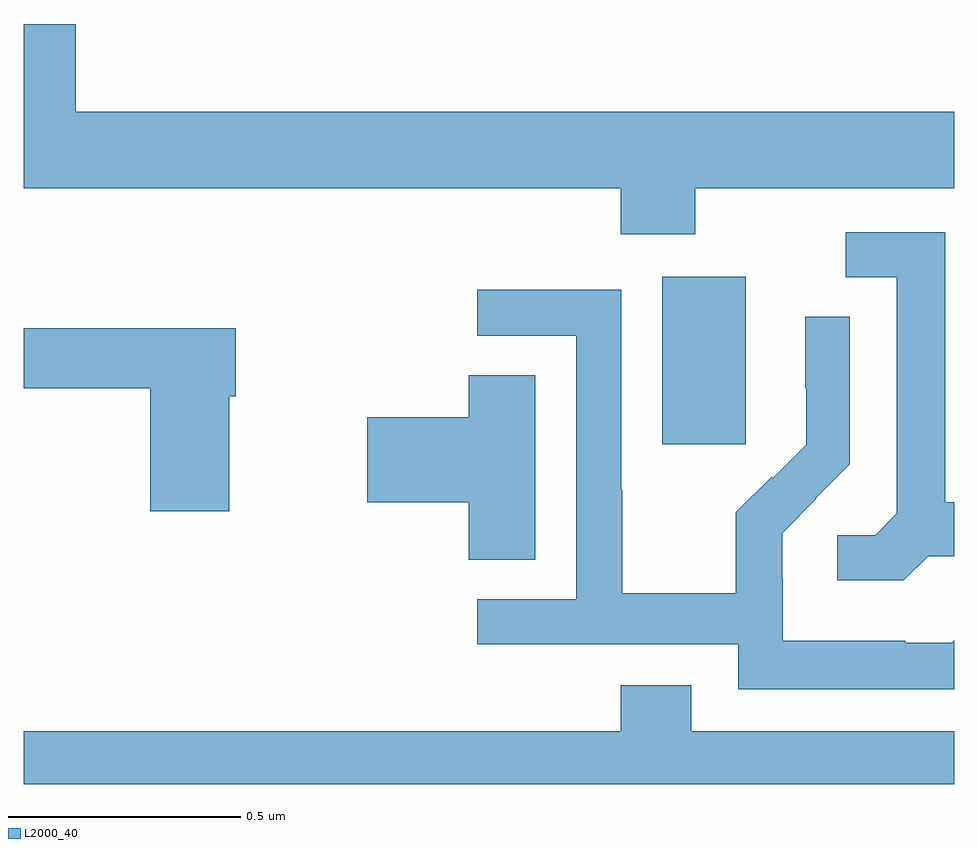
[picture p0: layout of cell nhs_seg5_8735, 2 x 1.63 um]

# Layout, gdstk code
import gdstk
lib = gdstk.Library(unit=1e-6, precision=1e-09)
def R(c, l, rs):  # rectangles x0, y0, x1, y1
    for r in rs: c.add(gdstk.rectangle(r[:2], r[2:], *l))
def P(c, l, *ps):  # polygons
    for p in ps: c.add(gdstk.Polygon(p, *l))
L2000_40 = (2000, 40)

nhs_seg5_8735 = lib.new_cell('nhs_seg5_8735')
R(nhs_seg5_8735, L2000_40, [(226.373,869.529,226.552,869.89)])
P(nhs_seg5_8735, L2000_40, [(226.443,870.08),(227,870.08),(227,870.244),(225.112,870.244),(225.112,870.433),(225,870.433),(225,870.08),(226.283,870.08),(226.283,869.981),(226.443,869.981)],
  [(226.944,869.289),(227,869.289),(227,869.405),(226.981,869.405),(226.981,869.985),(226.767,869.985),(226.767,869.889),(226.877,869.889),(226.877,869.381),(226.83,869.334),(226.749,869.334),(226.749,869.237),(226.892,869.237)],
  [(227,869.108),(226.995,869.103),(226.895,869.103),(226.895,869.107),(226.632,869.107),(226.632,869.241),(226.63,869.241),(226.63,869.338),(226.704,869.412),(226.703,869.413),(226.776,869.486),(226.776,869.804),(226.68,869.804),(226.68,869.65),(226.682,869.65),(226.682,869.528),(226.611,869.457),(226.608,869.46),(226.531,869.383),(226.531,869.209),(226.287,869.209),(226.287,869.432),(226.284,869.432),(226.284,869.862),(225.975,869.862),(225.975,869.763),(226.188,869.763),(226.188,869.196),(225.975,869.196),(225.975,869.1),(226.536,869.1),(226.536,869.003),(227,869.003)],
  [(225.442,869.633),(225.455,869.633),(225.455,869.779),(225,869.779),(225,869.65),(225.272,869.65),(225.272,869.385),(225.442,869.385)],
  [(226.099,869.678),(225.956,869.678),(225.956,869.588),(225.738,869.588),(225.738,869.405),(225.956,869.405),(225.956,869.281),(226.099,869.281)],
  [(227,868.912),(226.435,868.912),(226.435,869.011),(226.283,869.011),(226.283,868.912),(225,868.912),(225,868.799),(227,868.799)])

lib.write_gds('nhs_seg5_8735.gds')
